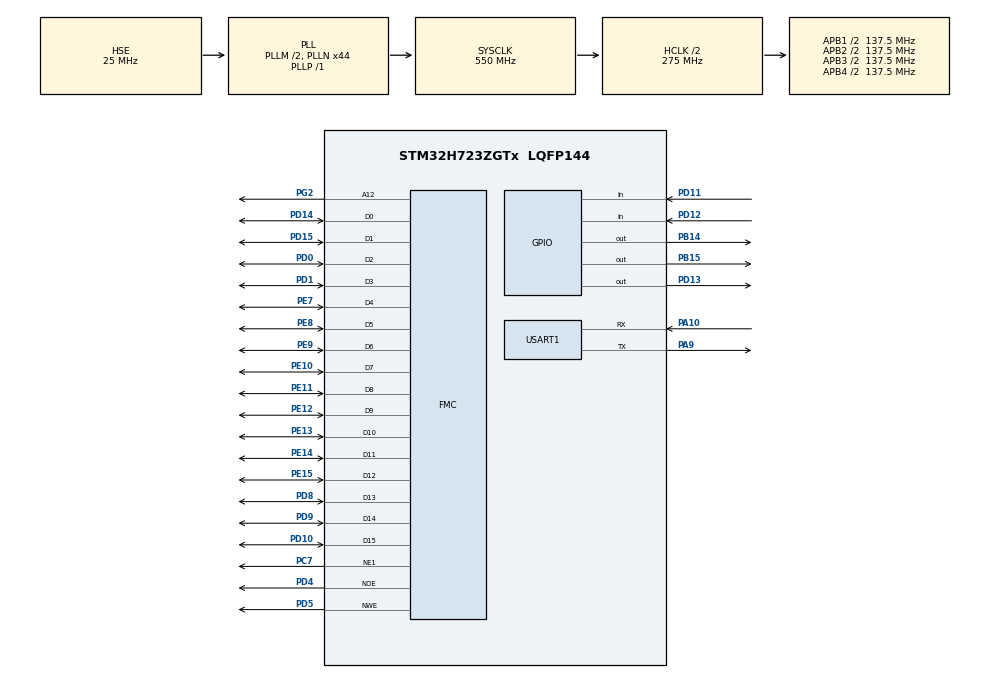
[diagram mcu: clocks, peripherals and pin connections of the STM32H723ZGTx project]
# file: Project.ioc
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CORTEX_M7.AccessPermission_Spec=MPU_REGION_FULL_ACCESS
CORTEX_M7.BaseAddress_Spec=0x0
CORTEX_M7.DisableExec_Spec=MPU_INSTRUCTION_ACCESS_ENABLE
CORTEX_M7.IsBufferable_Spec=MPU_ACCESS_BUFFERABLE
CORTEX_M7.IsShareable_Spec=MPU_ACCESS_NOT_SHAREABLE
CORTEX_M7.Size_Spec=MPU_REGION_SIZE_4GB
CORTEX_M7.SubRegionDisable_Spec=0x87
CORTEX_M7.default_mode_Activation=1
FMC.AddressSetupTime1=3
FMC.BankMapConfig=FMC_SWAPBMAP_DISABLE
FMC.DataSetupTime1=6
FMC.ExtendedAddressSetupTime1=0
FMC.ExtendedDataSetupTime1=2
FMC.ExtendedMode1=FMC_EXTENDED_MODE_ENABLE
FMC.WriteFifo1=FMC_WRITE_FIFO_DISABLE
Mcu.Family=STM32H7
Mcu.Name=STM32H723ZGTx
Mcu.Package=LQFP144
NVIC.PriorityGroup=NVIC_PRIORITYGROUP_4
PA10.Mode=Asynchronous
PA10.Signal=USART1_RX
PA13(JTMS/SWDIO).Mode=Serial_Wire
PA13(JTMS/SWDIO).Signal=DEBUG_JTMS-SWDIO
PA14(JTCK/SWCLK).Mode=Serial_Wire
PA14(JTCK/SWCLK).Signal=DEBUG_JTCK-SWCLK
PA9.Mode=Asynchronous
PA9.Signal=USART1_TX
PB14.GPIO_ModeDefaultOutputPP=GPIO_MODE_OUTPUT_PP
PB14.GPIO_PuPd=GPIO_PULLUP
PB14.GPIO_Speed=GPIO_SPEED_FREQ_HIGH
PB14.PinState=GPIO_PIN_SET
PB14.Signal=GPIO_Output
PB15.GPIO_ModeDefaultOutputPP=GPIO_MODE_OUTPUT_OD
PB15.GPIO_PuPd=GPIO_PULLUP
PB15.GPIO_Speed=GPIO_SPEED_FREQ_HIGH
PB15.PinState=GPIO_PIN_SET
PB15.Signal=GPIO_Output
PC7.Mode=NorPsramChipSelect1_1
PC7.Signal=FMC_NE1
PC8.Signal=FMC_NE2
PD0.Signal=FMC_D2_DA2
PD1.Signal=FMC_D3_DA3
PD10.Signal=FMC_D15_DA15
PD11.GPIO_PuPd=GPIO_PULLUP
PD11.Signal=GPIO_Input
PD12.GPIO_Mode=GPIO_MODE_INPUT
PD12.GPIO_PuPd=GPIO_PULLUP
PD12.Signal=GPIO_Input
PD13.GPIO_ModeDefaultOutputPP=GPIO_MODE_OUTPUT_OD
PD13.GPIO_PuPd=GPIO_PULLUP
PD13.GPIO_Speed=GPIO_SPEED_FREQ_HIGH
PD13.PinState=GPIO_PIN_SET
PD13.Signal=GPIO_Output
PD14.Signal=FMC_D0_DA0
PD15.Signal=FMC_D1_DA1
PD4.Signal=FMC_NOE
PD5.Signal=FMC_NWE
PD8.Signal=FMC_D13_DA13
PD9.Signal=FMC_D14_DA14
PE10.Signal=FMC_D7_DA7
PE11.Signal=FMC_D8_DA8
PE12.Signal=FMC_D9_DA9
PE13.Signal=FMC_D10_DA10
PE14.Signal=FMC_D11_DA11
PE15.Signal=FMC_D12_DA12
PE7.Signal=FMC_D4_DA4
PE8.Signal=FMC_D5_DA5
PE9.Signal=FMC_D6_DA6
PG2.Signal=FMC_A12
PH0-OSC_IN.Mode=HSE-External-Oscillator
PH0-OSC_IN.Signal=RCC_OSC_IN
PH1-OSC_OUT.Mode=HSE-External-Oscillator
PH1-OSC_OUT.Signal=RCC_OSC_OUT
ProjectManager.HeapSize=0x200
ProjectManager.StackSize=0x400
ProjectManager.TargetToolchain=MDK-ARM V5.32
RCC.ADCFreq_Value=50390625
RCC.APB1Freq_Value=137500000
RCC.APB2Freq_Value=137500000
RCC.APB3Freq_Value=137500000
RCC.APB4Freq_Value=137500000
RCC.CortexFreq_Value=550000000
RCC.D1PPRE=RCC_APB3_DIV2
RCC.D2PPRE1=RCC_APB1_DIV2
RCC.D2PPRE2=RCC_APB2_DIV2
RCC.D3PPRE=RCC_APB4_DIV2
RCC.DIVM1=2
RCC.DIVN1=44
RCC.DIVP1=1
RCC.HCLKFreq_Value=275000000
RCC.HPRE=RCC_HCLK_DIV2
RCC.HSE_VALUE=25000000
RCC.PLLFRACN=0
RCC.PLLSourceVirtual=RCC_PLLSOURCE_HSE
RCC.SYSCLKFreq_VALUE=550000000
RCC.SYSCLKSource=RCC_SYSCLKSOURCE_PLLCLK
RCC.USBFreq_Value=275000000
SH.FMC_A12.0=FMC_A12,A12_1
SH.FMC_D0_DA0.0=FMC_D0,16b-d1
SH.FMC_D10_DA10.0=FMC_D10,16b-d1
SH.FMC_D11_DA11.0=FMC_D11,16b-d1
SH.FMC_D12_DA12.0=FMC_D12,16b-d1
SH.FMC_D13_DA13.0=FMC_D13,16b-d1
SH.FMC_D14_DA14.0=FMC_D14,16b-d1
SH.FMC_D15_DA15.0=FMC_D15,16b-d1
SH.FMC_D1_DA1.0=FMC_D1,16b-d1
SH.FMC_D2_DA2.0=FMC_D2,16b-d1
SH.FMC_D3_DA3.0=FMC_D3,16b-d1
SH.FMC_D4_DA4.0=FMC_D4,16b-d1
SH.FMC_D5_DA5.0=FMC_D5,16b-d1
SH.FMC_D6_DA6.0=FMC_D6,16b-d1
SH.FMC_D7_DA7.0=FMC_D7,16b-d1
SH.FMC_D8_DA8.0=FMC_D8,16b-d1
SH.FMC_D9_DA9.0=FMC_D9,16b-d1
SH.FMC_NOE.0=FMC_NOE,Lcd1
SH.FMC_NWE.0=FMC_NWE,Lcd1
USART1.VirtualMode-Asynchronous=VM_ASYNC
board=custom

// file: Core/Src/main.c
/* USER CODE BEGIN Header */
/**
  ******************************************************************************
  * @file           : main.c
  * @brief          : Main program body
  ******************************************************************************
  * @attention
  *
  * Copyright (c) 2025 STMicroelectronics.
  * All rights reserved.
  *
  * This software is licensed under terms that can be found in the LICENSE file
  * in the root directory of this software component.
  * If no LICENSE file comes with this software, it is provided AS-IS.
  *
  ******************************************************************************
  */
/* USER CODE END Header */
#include "main.h"
#include "usart.h"
#include "gpio.h"
#include "fmc.h"

/* USER CODE BEGIN Includes */

#include "Delay.h"
#include "LCD_Init.h"
#include "LCD.h"
#include "Touch.h"

#include "FMC_FPGA.h"
#include "arm_math.h"
#include <math.h>
#include "MY_FFT.h"

/* USER CODE END Includes */

/* USER CODE BEGIN PD */

uint16_t fmc_adc_data[FFT_Length];//0��1024
uint16_t fmc_num[FFT_Length];//0��1024

float32_t fft_data[FFT_Length];//0��1024

/* USER CODE END PD */

void SystemClock_Config(void);
static void MPU_Config(void);

/* USER CODE BEGIN 0 */
void LED_test(void)
{
	__HAL_RCC_GPIOA_CLK_ENABLE();

	GPIO_InitTypeDef GPIO_InitStruct;

	GPIO_InitStruct.Pin = GPIO_PIN_15;
	GPIO_InitStruct.Mode = GPIO_MODE_OUTPUT_PP;
	GPIO_InitStruct.Pull = GPIO_PULLUP;
	GPIO_InitStruct.Speed = GPIO_SPEED_FREQ_HIGH;
	HAL_GPIO_Init(GPIOA, &GPIO_InitStruct);
}
/* USER CODE END 0 */

int main(void)
{

  /* MPU Configuration--------------------------------------------------------*/
  MPU_Config();

  /* MCU Configuration--------------------------------------------------------*/

  /* Reset of all peripherals, Initializes the Flash interface and the Systick. */
  HAL_Init();

  /* Configure the system clock */
  SystemClock_Config();

  /* Initialize all configured peripherals */
  MX_GPIO_Init();
  MX_FMC_Init();
  MX_USART1_UART_Init();
  /* USER CODE BEGIN 2 */

	Delay_Init(550);

	LCD_Init();

	tp_dev.init();

	LED_test();

	my_fft_init();

	/* The self-test UI is drawn by FMC_SelfTest_Display(). */
	LCD_Clear(WHITE);

  /* USER CODE END 2 */

  /* Infinite loop */
  while (1)
  {

		FMC_SelfTest_Display();   /* Read FPGA test registers and refresh the LCD UI. */

		HAL_Delay(100);

		for (int i = 0; i < FFT_Length; i ++)
		{
			fft_data[i] = (float32_t)fmc_adc_data[i];
		}

		(void)fft_data;   /* my_fft 自检期间停用,避免串口刷无效数据 */

		HAL_Delay(100);

  }
}

void SystemClock_Config(void)
{
  RCC_OscInitTypeDef RCC_OscInitStruct = {0};
  RCC_ClkInitTypeDef RCC_ClkInitStruct = {0};

  /** Supply configuration update enable
  */
  HAL_PWREx_ConfigSupply(PWR_LDO_SUPPLY);

  /** Configure the main internal regulator output voltage
  */
  __HAL_PWR_VOLTAGESCALING_CONFIG(PWR_REGULATOR_VOLTAGE_SCALE0);

  while(!__HAL_PWR_GET_FLAG(PWR_FLAG_VOSRDY)) {}

  /** Initializes the RCC Oscillators according to the specified parameters
  * in the RCC_OscInitTypeDef structure.
  */
  RCC_OscInitStruct.OscillatorType = RCC_OSCILLATORTYPE_HSE;
  RCC_OscInitStruct.HSEState = RCC_HSE_ON;
  RCC_OscInitStruct.PLL.PLLState = RCC_PLL_ON;
  RCC_OscInitStruct.PLL.PLLSource = RCC_PLLSOURCE_HSE;
  RCC_OscInitStruct.PLL.PLLM = 2;
  RCC_OscInitStruct.PLL.PLLN = 44;
  RCC_OscInitStruct.PLL.PLLP = 1;
  RCC_OscInitStruct.PLL.PLLQ = 2;
  RCC_OscInitStruct.PLL.PLLR = 2;
  RCC_OscInitStruct.PLL.PLLRGE = RCC_PLL1VCIRANGE_3;
  RCC_OscInitStruct.PLL.PLLVCOSEL = RCC_PLL1VCOWIDE;
  RCC_OscInitStruct.PLL.PLLFRACN = 0;
  if (HAL_RCC_OscConfig(&RCC_OscInitStruct) != HAL_OK)
  {
    Error_Handler();
  }

  /** Initializes the CPU, AHB and APB buses clocks
  */
  RCC_ClkInitStruct.ClockType = RCC_CLOCKTYPE_HCLK|RCC_CLOCKTYPE_SYSCLK
                              |RCC_CLOCKTYPE_PCLK1|RCC_CLOCKTYPE_PCLK2
                              |RCC_CLOCKTYPE_D3PCLK1|RCC_CLOCKTYPE_D1PCLK1;
  RCC_ClkInitStruct.SYSCLKSource = RCC_SYSCLKSOURCE_PLLCLK;
  RCC_ClkInitStruct.SYSCLKDivider = RCC_SYSCLK_DIV1;
  RCC_ClkInitStruct.AHBCLKDivider = RCC_HCLK_DIV2;
  RCC_ClkInitStruct.APB3CLKDivider = RCC_APB3_DIV2;
  RCC_ClkInitStruct.APB1CLKDivider = RCC_APB1_DIV2;
  RCC_ClkInitStruct.APB2CLKDivider = RCC_APB2_DIV2;
  RCC_ClkInitStruct.APB4CLKDivider = RCC_APB4_DIV2;

  if (HAL_RCC_ClockConfig(&RCC_ClkInitStruct, FLASH_LATENCY_3) != HAL_OK)
  {
    Error_Handler();
  }
}

 /* MPU Configuration */

void MPU_Config(void)
{
  MPU_Region_InitTypeDef MPU_InitStruct = {0};

  /* Disables the MPU */
  HAL_MPU_Disable();

  /** Initializes and configures the Region and the memory to be protected
  */
  MPU_InitStruct.Enable = MPU_REGION_ENABLE;
  MPU_InitStruct.Number = MPU_REGION_NUMBER0;
  MPU_InitStruct.BaseAddress = 0x0;
  MPU_InitStruct.Size = MPU_REGION_SIZE_4GB;
  MPU_InitStruct.SubRegionDisable = 0x87;
  MPU_InitStruct.TypeExtField = MPU_TEX_LEVEL0;
  MPU_InitStruct.AccessPermission = MPU_REGION_FULL_ACCESS;
  MPU_InitStruct.DisableExec = MPU_INSTRUCTION_ACCESS_ENABLE;
  MPU_InitStruct.IsShareable = MPU_ACCESS_NOT_SHAREABLE;
  MPU_InitStruct.IsCacheable = MPU_ACCESS_NOT_CACHEABLE;
  MPU_InitStruct.IsBufferable = MPU_ACCESS_BUFFERABLE;

  HAL_MPU_ConfigRegion(&MPU_InitStruct);
  /* Enables the MPU */
  HAL_MPU_Enable(MPU_PRIVILEGED_DEFAULT);

}

void Error_Handler(void)
{
  __disable_irq();
  while (1)
  {
  }
}
